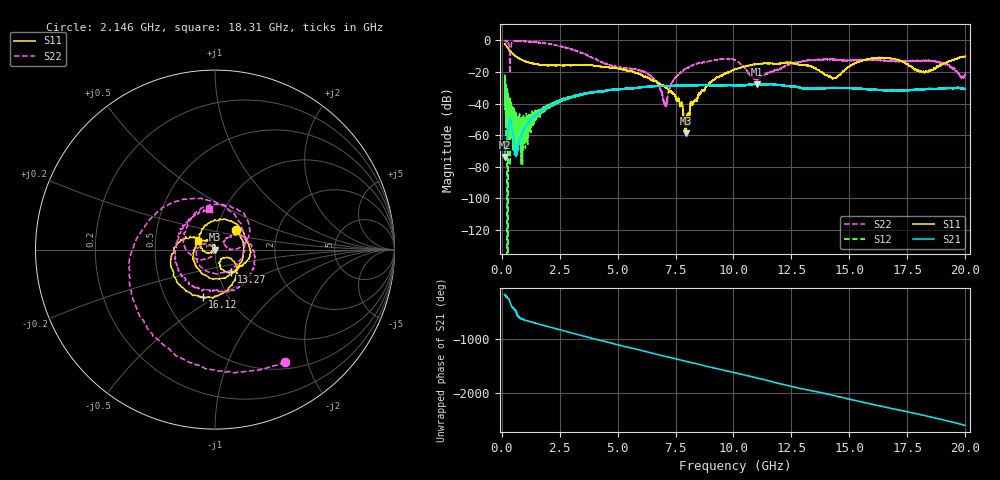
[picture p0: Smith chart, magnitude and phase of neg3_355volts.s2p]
!Created with skrf (http://scikit-rf.org).
# GHz S RI R 50.0
!freq ReS11 ImS11 ReS21 ImS21 ReS12 ImS12 ReS22 ImS22
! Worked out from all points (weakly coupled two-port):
!   20013 points, 130 MHz to 20 GHz, reference 50 ohm
!   highest |S21| = -27.76 dB at 11 GHz (marker M1); lowest = -73.7 dB at 133 MHz (marker M2)
!   lowest |S11| = -58.9 dB at 7.96 GHz (marker M3), VSWR 1.00, Z = 49.9 + j0.0227 ohm
!   |S11| at or under -10 dB: 604.6054 MHz to 605.0685 MHz (463.1 kHz wide, 0.0766 % of centre); 606.2681 MHz to 608.4808 MHz (2.213 MHz wide, 0.364 % of centre); 609.4 MHz to end of sweep
!   |S22| runs from -42.0 to -0.1 dB; largest |S21 - S12| = 0.087
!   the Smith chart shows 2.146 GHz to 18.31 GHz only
!   S11 on the Smith chart (normalised r, x): 2.146 GHz: 1.23, +0.28; 13.27 GHz: 1.16, -0.30; 16.12 GHz: 0.76, -0.43; 18.31 GHz: 0.83, +0.07
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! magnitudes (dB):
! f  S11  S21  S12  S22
! 130 MHz  -2.1  -73.2  -33.6  -0.2
! 133 MHz  -2.1  -73.7  -26.0  -0.2
! 363 MHz  -6.6  -49.2  -51.9  -18.9
! 603 MHz  -10.0  -72.1  -53.5  -0.4
! 727 MHz  -11.2  -66.4  -56.7  -0.5
! 1.189 GHz  -14.1  -51.7  -49.8  -0.9
! 2.146 GHz  -15.8  -41.0  -40.1  -2.6
! 3.442 GHz  -15.7  -34.4  -34.1  -8.0
! 6.754 GHz  -27.0  -29.0  -29.0  -27.9
! 7.062 GHz  -29.6  -29.0  -28.9  -41.1
! 7.705 GHz  -40.9  -28.6  -28.7  -20.6
! 7.96 GHz  -58.9  -28.6  -28.3  -17.8
! 8.573 GHz  -33.7  -28.4  -28.5  -14.2
! 10.06 GHz  -18.3  -28.6  -28.6  -12.6
! 11 GHz  -15.0  -27.8  -27.8  -25.0
! 13.27 GHz  -16.3  -30.4  -30.2  -12.8
! 13.38 GHz  -16.6  -30.5  -30.5  -12.6
! 14.35 GHz  -24.0  -30.1  -30.2  -12.1
! 16.12 GHz  -11.3  -31.3  -31.0  -12.7
! 16.69 GHz  -11.3  -31.8  -31.9  -13.0
! 18.31 GHz  -19.7  -31.0  -30.7  -13.0
! 20 GHz  -10.1  -30.8  -30.7  -20.6
